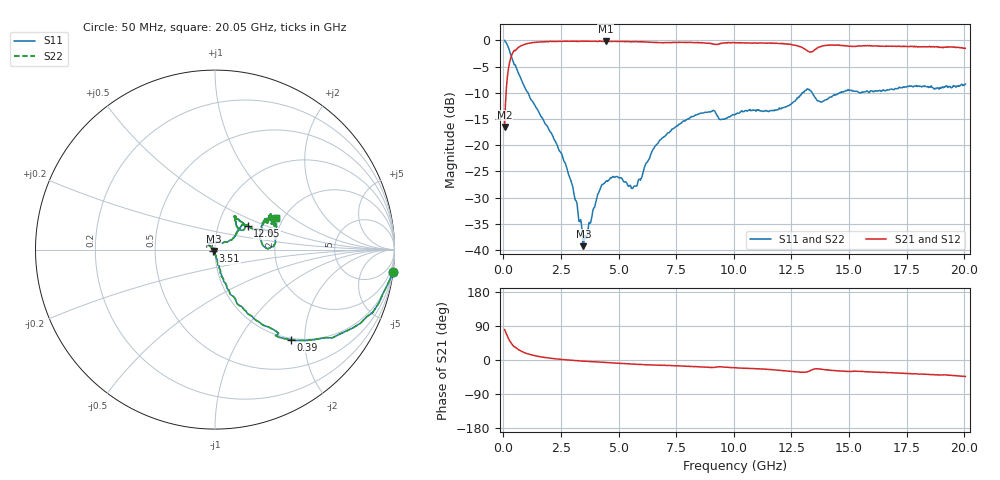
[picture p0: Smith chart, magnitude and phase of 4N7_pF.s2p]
! 500R07S4R7BV4
! Data taken April 11, 2003
! Data taken on a HP 8720C VNA using a series-through test fixture and TRL* de-embedding
#	mhz	s	ma	r	50
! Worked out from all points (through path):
!   1001 points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, 50 MHz to 20.05 GHz, reference 50 ohm
!   highest |S21| = -0.09 dB at 4.43 GHz (marker M1); lowest = -16.5 dB at 50 MHz (marker M2)
!   group delay of S21, straight-line fit = 8.09 ps
!   lowest |S11| = -39.3 dB at 3.47 GHz (marker M3), VSWR 1.02, Z = 49.3 - j0.784 ohm
!   |S11| at or under -10 dB: 1.065 GHz to 12.99 GHz (11.93 GHz wide, 170 % of centre); 13.4 GHz to 14.59 GHz (1.192 GHz wide, 8.51 % of centre); 15.47447 GHz to 15.52021 GHz (45.74 MHz wide, 0.295 % of centre)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
!   |S22| runs from -39.3 to 0.0 dB; largest |S21 - S12| = 0
!   S11 on the Smith chart (normalised r, x): 50 MHz: 0, -16; 390 MHz: 0.98, -1.72; 3.51 GHz: 0.98, -0.01; 12.05 GHz: 1.38, +0.38; 20.05 GHz: 1.84, +0.75
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50  1 -7.3  0.1493 80.4  0.1493 80.4  1 -7.3
210  0.8601 -31.9  0.5248 57.9  0.5248 57.9  0.8601 -31.9
390  0.6569 -49.8  0.7501 40.0  0.7501 40.0  0.6569 -49.8
690  0.4672 -59.0  0.8704 26.2  0.8704 26.2  0.4672 -59.0
1070  0.315 -67.9  0.9382 16.1  0.9382 16.1  0.315 -67.9
2610  0.07212 -78.0  0.9825 1.0  0.9825 1.0  0.07212 -78.0
2970  0.04279 -80.8  0.9837 -0.9  0.9837 -0.9  0.04279 -80.8
3390  0.01712 -105.6  0.9863 -2.6  0.9863 -2.6  0.01712 -105.6
3470  0.01085 -132.9  0.9839 -3.1  0.9839 -3.1  0.01085 -132.9
3510  0.01299 -149.8  0.9842 -3.1  0.9842 -3.1  0.01299 -149.8
4170  0.03694 143.6  0.9882 -5.7  0.9882 -5.7  0.03694 143.6
4430  0.04455 141.2  0.9893 -6.6  0.9893 -6.6  0.04455 141.2
5690  0.04088 90.8  0.9753 -11.1  0.9753 -11.1  0.04088 90.8
6730  0.1067 30.3  0.9526 -13.9  0.9526 -13.9  0.1067 30.3
8450  0.1981 41.9  0.9544 -18.1  0.9544 -18.1  0.1981 41.9
10050  0.1955 55.1  0.9525 -20.3  0.9525 -20.3  0.1955 55.1
12050  0.225 35.8  0.9352 -27.3  0.9352 -27.3  0.225 35.8
12930  0.305 20.6  0.8618 -32.0  0.8618 -32.0  0.305 20.6
13390  0.3191 2.8  0.7807 -25.8  0.7807 -25.8  0.3191 2.8
13970  0.2706 20.5  0.8949 -25.6  0.8949 -25.6  0.2706 20.5
16730  0.336 30.5  0.8812 -33.4  0.8812 -33.4  0.336 30.5
20050  0.3841 27.0  0.8417 -43.4  0.8417 -43.4  0.3841 27.0
